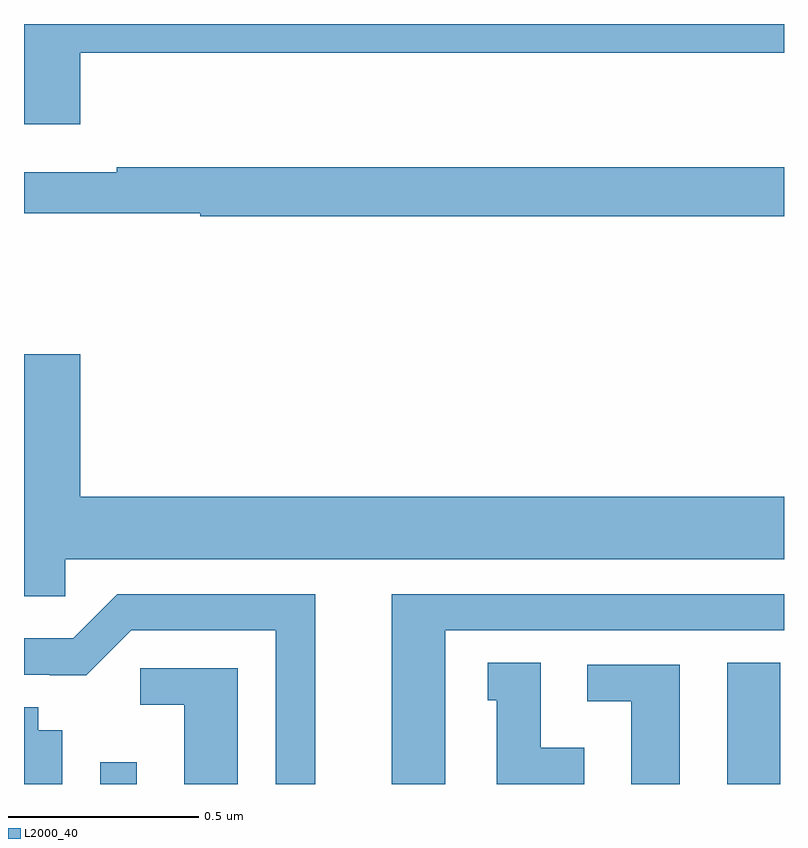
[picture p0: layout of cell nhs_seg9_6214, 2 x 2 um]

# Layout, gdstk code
import gdstk
lib = gdstk.Library(unit=1e-6, precision=1e-09)
def R(c, l, rs):  # rectangles x0, y0, x1, y1
    for r in rs: c.add(gdstk.rectangle(r[:2], r[2:], *l))
def P(c, l, *ps):  # polygons
    for p in ps: c.add(gdstk.Polygon(p, *l))
L2000_40 = (2000, 40)

nhs_seg9_6214 = lib.new_cell('nhs_seg9_6214')
R(nhs_seg9_6214, L2000_40, [(189.201,1190.5,189.297,1190.557), (190.85,1190.5,190.99,1190.819)])
P(nhs_seg9_6214, L2000_40, [(189.148,1192.424),(191,1192.424),(191,1192.5),(189,1192.5),(189,1192.236),(189.148,1192.236)],
  [(191,1192.123),(189.244,1192.123),(189.244,1192.11),(189,1192.11),(189,1192.002),(189.464,1192.002),(189.464,1191.994),(191,1191.994)],
  [(189.108,1191.092),(191,1191.092),(191,1191.256),(189.148,1191.256),(189.148,1191.631),(189,1191.631),(189,1190.994),(189.108,1190.994)],
  [(190.108,1190.904),(191,1190.904),(191,1191),(189.968,1191),(189.968,1190.5),(190.108,1190.5)],
  [(189.766,1191),(189.246,1191),(189.129,1190.883),(189,1190.883),(189,1190.787),(189.068,1190.787),(189.068,1190.786),(189.164,1190.786),(189.282,1190.904),(189.662,1190.904),(189.662,1190.5),(189.766,1190.5)],
  [(190.474,1190.596),(190.36,1190.596),(190.36,1190.819),(190.22,1190.819),(190.22,1190.721),(190.244,1190.721),(190.244,1190.5),(190.474,1190.5)],
  [(190.726,1190.814),(190.482,1190.814),(190.482,1190.718),(190.598,1190.718),(190.598,1190.5),(190.726,1190.5)],
  [(189.562,1190.805),(189.306,1190.805),(189.306,1190.708),(189.422,1190.708),(189.422,1190.5),(189.562,1190.5)],
  [(189.1,1190.641),(189.037,1190.641),(189.037,1190.702),(189,1190.702),(189,1190.5),(189.1,1190.5)])

lib.write_gds('nhs_seg9_6214.gds')
